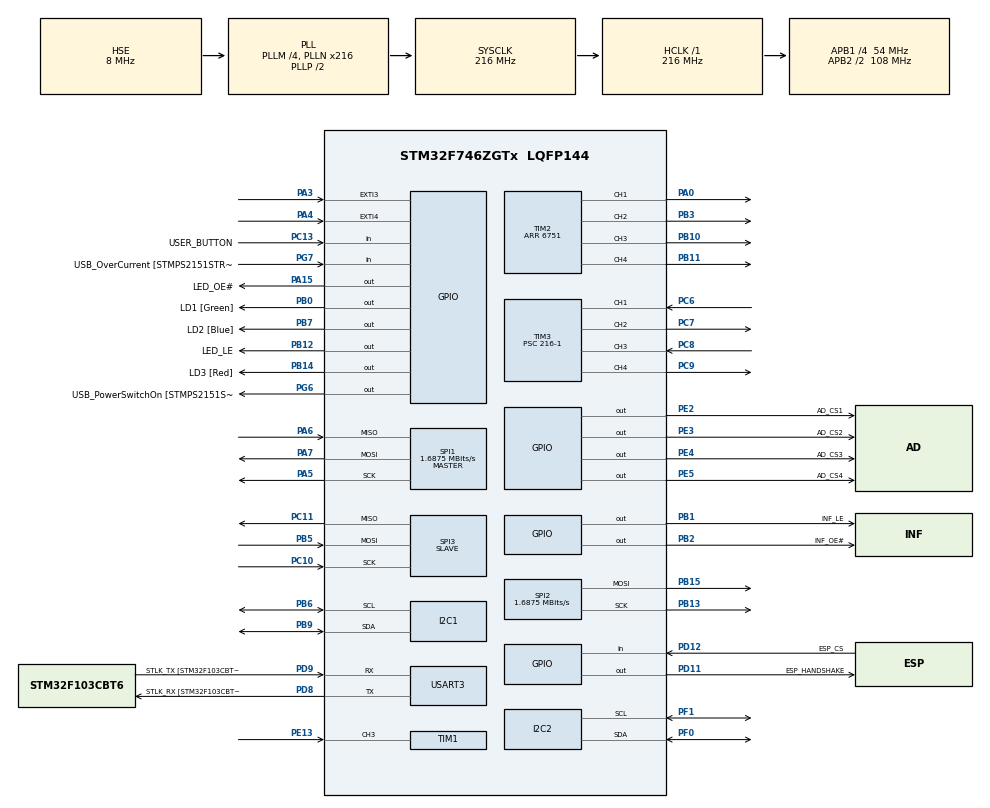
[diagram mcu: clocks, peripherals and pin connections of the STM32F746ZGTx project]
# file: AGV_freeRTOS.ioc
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CORTEX_M7.ART_ACCLERATOR_ENABLE=1
CORTEX_M7.CPU_DCache=Enabled
CORTEX_M7.CPU_ICache=Enabled
FREERTOS.BinarySemaphores01=SemACC,Dynamic,NULL;SemMotors,Dynamic,NULL;SemLightSensor,Dynamic,NULL;SemLeftEncoder,Dynamic,NULL;SemRightEncoder,Dynamic,NULL;SemLeftUSSensor,Dynamic,NULL;SemRightUSSensor,Dynamic,NULL;SemLaserSensor,Dynamic,NULL;SemPos,Dynamic,NULL;SemUSSensorEdge,Dynamic,NULL;SemReward,Dynamic,NULL
FREERTOS.Tasks01=defaultTask,8,512,StartTaskDeafult,Default,NULL,Dynamic,NULL,NULL;lightSensorTask,32,512,StartTaskLightSensor,Default,NULL,Dynamic,NULL,NULL;encodersTask,26,512,StartTaskEncoders,Default,NULL,Dynamic,NULL,NULL;emergencyBreakingTask,40,512,StartTaskEmergencyBreaking,Default,NULL,Dynamic,NULL,NULL;ACCTask,28,512,StartTaskACC,Default,NULL,Dynamic,NULL,NULL;communicationTask,21,512,StartTaskCommunication,Default,NULL,Dynamic,NULL,NULL;rewardTask,19,512,StartTaskReward,Default,NULL,Dynamic,NULL,NULL
FREERTOS.configENABLE_FPU=1
FREERTOS.configMAX_TASK_NAME_LEN=32
FREERTOS.configTOTAL_HEAP_SIZE=35360
FREERTOS.configUSE_NEWLIB_REENTRANT=1
I2C1.Timing=0x20404768
I2C2.Timing=0x20404768
Mcu.Family=STM32F7
Mcu.Name=STM32F746ZGTx
Mcu.Package=LQFP144
NVIC.EXTI3_IRQn=true\:5\:0\:false\:false\:true\:true\:true\:true
NVIC.EXTI4_IRQn=true\:5\:0\:false\:false\:true\:true\:true\:true
NVIC.PriorityGroup=NVIC_PRIORITYGROUP_4
NVIC.TIM1_CC_IRQn=true\:5\:0\:false\:false\:true\:true\:true\:true
NVIC.TIM1_UP_TIM10_IRQn=true\:5\:0\:false\:false\:true\:false\:false\:true
NVIC.TIM3_IRQn=true\:5\:0\:false\:false\:true\:true\:true\:true
NVIC.TIM6_DAC_IRQn=true\:5\:0\:false\:false\:true\:true\:true\:true
NVIC.TIM7_IRQn=true\:5\:0\:false\:false\:true\:true\:true\:true
NVIC.TIM8_UP_TIM13_IRQn=true\:0\:0\:false\:false\:true\:false\:false\:true
NVIC.TimeBase=TIM8_UP_TIM13_IRQn
NVIC.TimeBaseIP=TIM13
PA0/WKUP.Signal=S_TIM2_CH1_ETR
PA13.GPIO_Label=TMS
PA13.Mode=Serial_Wire
PA13.Signal=SYS_JTMS-SWDIO
PA14.GPIO_Label=TCK
PA14.Mode=Serial_Wire
PA14.Signal=SYS_JTCK-SWCLK
PA15.GPIO_Label=LED_OE\#
PA15.Signal=GPIO_Output
PA3.Signal=GPXTI3
PA4.Signal=GPXTI4
PA5.Mode=Full_Duplex_Master
PA5.Signal=SPI1_SCK
PA6.Mode=Full_Duplex_Master
PA6.Signal=SPI1_MISO
PA7.Mode=Full_Duplex_Master
PA7.Signal=SPI1_MOSI
PB0.GPIO_Label=LD1 [Green]
PB0.Signal=GPIO_Output
PB1.GPIO_Label=INF_LE
PB1.Signal=GPIO_Output
PB10.Signal=S_TIM2_CH3
PB11.Signal=S_TIM2_CH4
PB12.GPIO_Label=LED_LE
PB12.Signal=GPIO_Output
PB13.Mode=TX_Only_Simplex_Unidirect_Master
PB13.Signal=SPI2_SCK
PB14.GPIO_Label=LD3 [Red]
PB14.Signal=GPIO_Output
PB15.Mode=TX_Only_Simplex_Unidirect_Master
PB15.Signal=SPI2_MOSI
PB2.GPIO_Label=INF_OE\#
PB2.Signal=GPIO_Output
PB3.Signal=S_TIM2_CH2
PB5.Mode=Full_Duplex_Slave
PB5.Signal=SPI3_MOSI
PB6.GPIO_Pu=GPIO_PULLUP
PB6.Mode=I2C
PB6.Signal=I2C1_SCL
PB7.GPIO_Label=LD2 [Blue]
PB7.Signal=GPIO_Output
PB9.GPIO_Pu=GPIO_PULLUP
PB9.Mode=I2C
PB9.Signal=I2C1_SDA
PC10.Mode=Full_Duplex_Slave
PC10.Signal=SPI3_SCK
PC11.Mode=Full_Duplex_Slave
PC11.Signal=SPI3_MISO
PC13.GPIO_Label=USER_BUTTON
PC13.Signal=GPIO_Input
PC14/OSC32_IN.Mode=LSE-External-Oscillator
PC14/OSC32_IN.Signal=RCC_OSC32_IN
PC15/OSC32_OUT.Mode=LSE-External-Oscillator
PC15/OSC32_OUT.Signal=RCC_OSC32_OUT
PC6.Signal=S_TIM3_CH1
PC7.Signal=S_TIM3_CH2
PC8.Signal=S_TIM3_CH3
PC9.Signal=S_TIM3_CH4
PD11.GPIO_Label=ESP_HANDSHAKE
PD11.PinState=GPIO_PIN_SET
PD11.Signal=GPIO_Output
PD12.GPIO_Label=ESP_CS
PD12.Signal=GPIO_Input
PD8.GPIO_Label=STLK_RX [STM32F103CBT6_PA3]
PD8.Mode=Asynchronous
PD8.Signal=USART3_TX
PD9.GPIO_Label=STLK_TX [STM32F103CBT6_PA2]
PD9.Mode=Asynchronous
PD9.Signal=USART3_RX
PE13.Signal=S_TIM1_CH3
PE2.GPIO_Label=AD_CS1
PE2.PinState=GPIO_PIN_SET
PE2.Signal=GPIO_Output
PE3.GPIO_Label=AD_CS2
PE3.PinState=GPIO_PIN_SET
PE3.Signal=GPIO_Output
PE4.GPIO_Label=AD_CS3
PE4.PinState=GPIO_PIN_SET
PE4.Signal=GPIO_Output
PE5.GPIO_Label=AD_CS4
PE5.PinState=GPIO_PIN_SET
PE5.Signal=GPIO_Output
PF0.GPIO_Pu=GPIO_PULLUP
PF0.Mode=I2C
PF0.Signal=I2C2_SDA
PF1.GPIO_Pu=GPIO_PULLUP
PF1.Mode=I2C
PF1.Signal=I2C2_SCL
PG6.GPIO_Label=USB_PowerSwitchOn [STMPS2151STR_EN]
PG6.Signal=GPIO_Output
PG7.GPIO_Label=USB_OverCurrent [STMPS2151STR_FAULT]
PG7.Signal=GPIO_Input
PH0/OSC_IN.GPIO_Label=MCO [STM32F103CBT6_PA8]
PH0/OSC_IN.Mode=HSE-External-Oscillator
PH0/OSC_IN.Signal=RCC_OSC_IN
PH1/OSC_OUT.Mode=HSE-External-Oscillator
PH1/OSC_OUT.Signal=RCC_OSC_OUT
ProjectManager.HeapSize=0x200
ProjectManager.StackSize=0x1000
ProjectManager.TargetToolchain=STM32CubeIDE
RCC.48MHZClocksFreq_Value=24000000
RCC.AHBFreq_Value=216000000
RCC.APB1CLKDivider=RCC_HCLK_DIV4
RCC.APB1Freq_Value=54000000
RCC.APB1TimFreq_Value=108000000
RCC.APB2CLKDivider=RCC_HCLK_DIV2
RCC.APB2Freq_Value=108000000
RCC.APB2TimFreq_Value=216000000
RCC.CortexFreq_Value=216000000
RCC.HCLKFreq_Value=216000000
RCC.HSE_VALUE=8000000
RCC.HSI_VALUE=16000000
RCC.PLLM=4
RCC.PLLMUL=RCC_PLL_MUL9
RCC.PLLN=216
RCC.PLLQ=10
RCC.PLLSourceVirtual=RCC_PLLSOURCE_HSE
RCC.PRESCALERUSB=RCC_USBCLKSOURCE_PLL_DIV1_5
RCC.SYSCLKFreq_VALUE=216000000
RCC.SYSCLKSource=RCC_SYSCLKSOURCE_PLLCLK
RCC.SYSCLKSourceVirtual=RCC_SYSCLKSOURCE_PLLCLK
RCC.USBFreq_Value=43200000
RCC.VCOOutputFreq_Value=432000000
SH.S_TIM1_CH3.0=TIM1_CH3,Input_Capture3_from_TI3
SH.S_TIM2_CH1_ETR.0=TIM2_CH1,PWM Generation1 CH1
SH.S_TIM2_CH2.0=TIM2_CH2,PWM Generation2 CH2
SH.S_TIM2_CH3.0=TIM2_CH3,PWM Generation3 CH3
SH.S_TIM2_CH4.0=TIM2_CH4,PWM Generation4 CH4
SH.S_TIM3_CH1.0=TIM3_CH1,Input_Capture1_from_TI1
SH.S_TIM3_CH2.0=TIM3_CH2,PWM Generation2 CH2
SH.S_TIM3_CH3.0=TIM3_CH3,Input_Capture3_from_TI3
SH.S_TIM3_CH4.0=TIM3_CH4,PWM Generation4 CH4
SPI1.BaudRatePrescaler=SPI_BAUDRATEPRESCALER_64
SPI1.CalculateBaudRate=1.6875 MBits/s
SPI1.DataSize=SPI_DATASIZE_8BIT
SPI1.Direction=SPI_DIRECTION_2LINES
SPI1.Mode=SPI_MODE_MASTER
SPI1.NSSPMode=SPI_NSS_PULSE_DISABLE
SPI1.VirtualType=VM_MASTER
SPI2.BaudRatePrescaler=SPI_BAUDRATEPRESCALER_32
SPI2.CalculateBaudRate=1.6875 MBits/s
SPI2.DataSize=SPI_DATASIZE_8BIT
SPI2.Direction=SPI_DIRECTION_2LINES
SPI2.Mode=SPI_MODE_MASTER
SPI2.NSSPMode=SPI_NSS_PULSE_DISABLE
SPI2.VirtualType=VM_MASTER
SPI3.CLKPhase=SPI_PHASE_2EDGE
SPI3.CLKPolarity=SPI_POLARITY_HIGH
SPI3.DataSize=SPI_DATASIZE_8BIT
SPI3.Direction=SPI_DIRECTION_2LINES
SPI3.Mode=SPI_MODE_SLAVE
SPI3.VirtualType=VM_SLAVE
STMicroelectronics.X-CUBE-AI.6.0.0.ActivationBufferSizeList=37032
STMicroelectronics.X-CUBE-AI.6.0.0.HeapSize=0x200
STMicroelectronics.X-CUBE-AI.6.0.0.InternalRamActivationBufferMaxSize=AI_SIMPLENN_DATA_ACTIVATIONS_SIZE
STMicroelectronics.X-CUBE-AI.6.0.0.LatestDirectoryUsed-7442c7563cdb3022973254b2a69d9c63271b1dc78072a0198cabeec3d50b4be9=D\:\\TK-MachineLearning\\Microcontrollers\\Nucleo
STMicroelectronics.X-CUBE-AI.6.0.0.MaximumNumberOfInputLayer=1
STMicroelectronics.X-CUBE-AI.6.0.0.MaximumNumberOfOutputLayer=1
STMicroelectronics.X-CUBE-AI.6.0.0.MaximumSizeOfInputLayer=AI_SIMPLENN_IN_1_SIZE_BYTES
STMicroelectronics.X-CUBE-AI.6.0.0.MaximumSizeOfOutputLayer=AI_SIMPLENN_OUT_1_SIZE_BYTES
STMicroelectronics.X-CUBE-AI.6.0.0.ModelActualCompression-7442c7563cdb3022973254b2a69d9c63271b1dc78072a0198cabeec3d50b4be9=0.0
STMicroelectronics.X-CUBE-AI.6.0.0.ModelCompression-7442c7563cdb3022973254b2a69d9c63271b1dc78072a0198cabeec3d50b4be9=4
STMicroelectronics.X-CUBE-AI.6.0.0.ModelFlashOccupation-7442c7563cdb3022973254b2a69d9c63271b1dc78072a0198cabeec3d50b4be9=222632
STMicroelectronics.X-CUBE-AI.6.0.0.ModelHashList=7442c7563cdb3022973254b2a69d9c63271b1dc78072a0198cabeec3d50b4be9
STMicroelectronics.X-CUBE-AI.6.0.0.ModelKind-7442c7563cdb3022973254b2a69d9c63271b1dc78072a0198cabeec3d50b4be9=ONNX
STMicroelectronics.X-CUBE-AI.6.0.0.ModelMacc-7442c7563cdb3022973254b2a69d9c63271b1dc78072a0198cabeec3d50b4be9=55730
STMicroelectronics.X-CUBE-AI.6.0.0.ModelName-7442c7563cdb3022973254b2a69d9c63271b1dc78072a0198cabeec3d50b4be9=simplenn
STMicroelectronics.X-CUBE-AI.6.0.0.ModelNameList=simplenn
STMicroelectronics.X-CUBE-AI.6.0.0.ModelRamOccupation-7442c7563cdb3022973254b2a69d9c63271b1dc78072a0198cabeec3d50b4be9=37032
STMicroelectronics.X-CUBE-AI.6.0.0.ModelStructureFile-7442c7563cdb3022973254b2a69d9c63271b1dc78072a0198cabeec3d50b4be9=D\:\\TK-MachineLearning\\Microcontrollers\\Nucleo\\MCU_NN.onnx
STMicroelectronics.X-CUBE-AI.6.0.0.ModelType-7442c7563cdb3022973254b2a69d9c63271b1dc78072a0198cabeec3d50b4be9=Saved model
STMicroelectronics.X-CUBE-AI.6.0.0.StackSize=0x1000
STMicroelectronics.X-CUBE-AI.6.0.0.WorkingBufferStartAddrList=0xFFFFFFFF
STMicroelectronics.X-CUBE-AI.6.0.0.XAaCUBEAaAICcArtificialOoIntelligenceJjCore=true
TIM1.AutoReloadPreload=TIM_AUTORELOAD_PRELOAD_ENABLE
TIM1.Channel-Input_Capture3_from_TI3=TIM_CHANNEL_3
TIM1.Prescaler=216-1
TIM14.Prescaler=21599
TIM2.AutoReloadPreload=TIM_AUTORELOAD_PRELOAD_ENABLE
TIM2.Channel-PWM\ Generation1\ CH1=TIM_CHANNEL_1
TIM2.Channel-PWM\ Generation2\ CH2=TIM_CHANNEL_2
TIM2.Channel-PWM\ Generation3\ CH3=TIM_CHANNEL_3
TIM2.Channel-PWM\ Generation4\ CH4=TIM_CHANNEL_4
TIM2.Period=6751
TIM3.Channel-Input_Capture1_from_TI1=TIM_CHANNEL_1
TIM3.Channel-Input_Capture3_from_TI3=TIM_CHANNEL_3
TIM3.Channel-PWM\ Generation2\ CH2=TIM_CHANNEL_2
TIM3.Channel-PWM\ Generation4\ CH4=TIM_CHANNEL_4
TIM3.Prescaler=216-1
TIM3.Pulse-PWM\ Generation2\ CH2=10
TIM3.Pulse-PWM\ Generation4\ CH4=10
TIM6.AutoReloadPreload=TIM_AUTORELOAD_PRELOAD_ENABLE
TIM6.Period=59999
TIM6.Prescaler=1799
TIM7.AutoReloadPreload=TIM_AUTORELOAD_PRELOAD_ENABLE
TIM7.Period=59999
TIM7.Prescaler=1799
USART3.VirtualMode-Asynchronous=VM_ASYNC
VP_CRC_VS_CRC.Mode=CRC_Activate
VP_FREERTOS_VS_CMSIS_V2.Mode=CMSIS_V2
VP_RNG_VS_RNG.Mode=RNG_Activate
VP_STMicroelectronics.X-CUBE-AI_VS_ArtificialOoIntelligenceJjXAaCUBEAaAI_6.0.0.Mode=ArtificialOoIntelligenceJjXAaCUBEAaAI
VP_SYS_VS_tim13.Mode=TIM13
VP_TIM14_VS_ClockSourceINT.Mode=Enable_Timer
VP_TIM1_VS_ClockSourceINT.Mode=Internal
VP_TIM2_VS_ClockSourceINT.Mode=Internal
VP_TIM3_VS_ClockSourceINT.Mode=Internal
VP_TIM6_VS_ClockSourceINT.Mode=Enable_Timer
VP_TIM7_VS_ClockSourceINT.Mode=Enable_Timer
board=NUCLEO-F746ZG

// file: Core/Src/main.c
/* USER CODE BEGIN Header */
/**
  ******************************************************************************
  * @file           : main.c
  * @brief          : Main program body
  ******************************************************************************
  * @attention
  *
  * <h2><center>&copy; Copyright (c) 2021 STMicroelectronics.
  * All rights reserved.</center></h2>
  *
  * This software component is licensed by ST under BSD 3-Clause license,
  * the "License"; You may not use this file except in compliance with the
  * License. You may obtain a copy of the License at:
  *                        opensource.org/licenses/BSD-3-Clause
  *
  ******************************************************************************
  */
/* USER CODE END Header */
#include "main.h"
#include "cmsis_os.h"

CRC_HandleTypeDef hcrc;

I2C_HandleTypeDef hi2c1;
I2C_HandleTypeDef hi2c2;

RNG_HandleTypeDef hrng;

SPI_HandleTypeDef hspi1;
SPI_HandleTypeDef hspi2;
SPI_HandleTypeDef hspi3;

TIM_HandleTypeDef htim1;
TIM_HandleTypeDef htim2;
TIM_HandleTypeDef htim3;
TIM_HandleTypeDef htim6;
TIM_HandleTypeDef htim7;
TIM_HandleTypeDef htim14;

UART_HandleTypeDef huart3;

/* Definitions for defaultTask */
osThreadId_t defaultTaskHandle;
const osThreadAttr_t defaultTask_attributes = {
  .name = "defaultTask",
  .stack_size = 512 * 4,
  .priority = (osPriority_t) osPriorityLow,
};
/* Definitions for lightSensorTask */
osThreadId_t lightSensorTaskHandle;
const osThreadAttr_t lightSensorTask_attributes = {
  .name = "lightSensorTask",
  .stack_size = 512 * 4,
  .priority = (osPriority_t) osPriorityAboveNormal,
};
/* Definitions for encodersTask */
osThreadId_t encodersTaskHandle;
const osThreadAttr_t encodersTask_attributes = {
  .name = "encodersTask",
  .stack_size = 512 * 4,
  .priority = (osPriority_t) osPriorityNormal2,
};
/* Definitions for emergencyBreakingTask */
osThreadId_t emergencyBreakingTaskHandle;
const osThreadAttr_t emergencyBreakingTask_attributes = {
  .name = "emergencyBreakingTask",
  .stack_size = 512 * 4,
  .priority = (osPriority_t) osPriorityHigh,
};
/* Definitions for ACCTask */
osThreadId_t ACCTaskHandle;
const osThreadAttr_t ACCTask_attributes = {
  .name = "ACCTask",
  .stack_size = 512 * 4,
  .priority = (osPriority_t) osPriorityNormal4,
};
/* Definitions for communicationTask */
osThreadId_t communicationTaskHandle;
const osThreadAttr_t communicationTask_attributes = {
  .name = "communicationTask",
  .stack_size = 512 * 4,
  .priority = (osPriority_t) osPriorityBelowNormal5,
};
/* Definitions for rewardTask */
osThreadId_t rewardTaskHandle;
const osThreadAttr_t rewardTask_attributes = {
  .name = "rewardTask",
  .stack_size = 512 * 4,
  .priority = (osPriority_t) osPriorityBelowNormal3,
};
/* Definitions for SemACC */
osSemaphoreId_t SemACCHandle;
const osSemaphoreAttr_t SemACC_attributes = {
  .name = "SemACC"
};
/* Definitions for SemMotors */
osSemaphoreId_t SemMotorsHandle;
const osSemaphoreAttr_t SemMotors_attributes = {
  .name = "SemMotors"
};
/* Definitions for SemLightSensor */
osSemaphoreId_t SemLightSensorHandle;
const osSemaphoreAttr_t SemLightSensor_attributes = {
  .name = "SemLightSensor"
};
/* Definitions for SemLeftEncoder */
osSemaphoreId_t SemLeftEncoderHandle;
const osSemaphoreAttr_t SemLeftEncoder_attributes = {
  .name = "SemLeftEncoder"
};
/* Definitions for SemRightEncoder */
osSemaphoreId_t SemRightEncoderHandle;
const osSemaphoreAttr_t SemRightEncoder_attributes = {
  .name = "SemRightEncoder"
};
/* Definitions for SemLeftUSSensor */
osSemaphoreId_t SemLeftUSSensorHandle;
const osSemaphoreAttr_t SemLeftUSSensor_attributes = {
  .name = "SemLeftUSSensor"
};
/* Definitions for SemRightUSSensor */
osSemaphoreId_t SemRightUSSensorHandle;
const osSemaphoreAttr_t SemRightUSSensor_attributes = {
  .name = "SemRightUSSensor"
};
/* Definitions for SemLaserSensor */
osSemaphoreId_t SemLaserSensorHandle;
const osSemaphoreAttr_t SemLaserSensor_attributes = {
  .name = "SemLaserSensor"
};
/* Definitions for SemPos */
osSemaphoreId_t SemPosHandle;
const osSemaphoreAttr_t SemPos_attributes = {
  .name = "SemPos"
};
/* Definitions for SemUSSensorEdge */
osSemaphoreId_t SemUSSensorEdgeHandle;
const osSemaphoreAttr_t SemUSSensorEdge_attributes = {
  .name = "SemUSSensorEdge"
};
/* Definitions for SemReward */
osSemaphoreId_t SemRewardHandle;
const osSemaphoreAttr_t SemReward_attributes = {
  .name = "SemReward"
};
/* USER CODE BEGIN PV */

// USSensor BEGIN

extern TIM_HandleTypeDef* UStim;

// USSensor END

/* USER CODE END PV */

void SystemClock_Config(void);
static void MX_GPIO_Init(void);
static void MX_USART3_UART_Init(void);
static void MX_I2C1_Init(void);
static void MX_TIM1_Init(void);
static void MX_TIM3_Init(void);
static void MX_TIM2_Init(void);
static void MX_SPI1_Init(void);
static void MX_SPI2_Init(void);
static void MX_I2C2_Init(void);
static void MX_TIM6_Init(void);
static void MX_TIM7_Init(void);
static void MX_TIM14_Init(void);
static void MX_CRC_Init(void);
static void MX_RNG_Init(void);
static void MX_SPI3_Init(void);
void StartTaskDeafult(void *argument);
void StartTaskLightSensor(void *argument);
void StartTaskEncoders(void *argument);
void StartTaskEmergencyBreaking(void *argument);
void StartTaskACC(void *argument);
void StartTaskCommunication(void *argument);
void StartTaskReward(void *argument);

/* USER CODE BEGIN 0 */
typedef enum systemState{
	STOP, LINE_FOLLOW, RECEIVING_IMAGE, RECEIVING_WEIGHTS, NETWORK
}systemState;

systemState actualState = STOP;
/* USER CODE END 0 */

int main(void)
{

  /* Enable I-Cache---------------------------------------------------------*/
  SCB_EnableICache();

  /* Enable D-Cache---------------------------------------------------------*/
  SCB_EnableDCache();

  /* MCU Configuration--------------------------------------------------------*/

  /* Reset of all peripherals, Initializes the Flash interface and the Systick. */
  HAL_Init();

  /* Configure the system clock */
  SystemClock_Config();

  /* Initialize all configured peripherals */
  MX_GPIO_Init();
  MX_USART3_UART_Init();
  MX_I2C1_Init();
  MX_TIM1_Init();
  MX_TIM3_Init();
  MX_TIM2_Init();
  MX_SPI1_Init();
  MX_SPI2_Init();
  MX_I2C2_Init();
  MX_TIM6_Init();
  MX_TIM7_Init();
  MX_TIM14_Init();
  MX_CRC_Init();
  MX_RNG_Init();
  MX_SPI3_Init();
  /* USER CODE BEGIN 2 */
  initMyCOM(&huart3);
  Encoder_Init();
  Motors_Init(&htim2);
  initUS(&htim3);
  initACCSensor(&hi2c2);
  initlezer(&htim1);
  intiNetwork();
  /* USER CODE END 2 */

  /* Init scheduler */
  osKernelInitialize();

  /* Create the semaphores(s) */
  /* creation of SemACC */
  SemACCHandle = osSemaphoreNew(1, 1, &SemACC_attributes);

  /* creation of SemMotors */
  SemMotorsHandle = osSemaphoreNew(1, 1, &SemMotors_attributes);

  /* creation of SemLightSensor */
  SemLightSensorHandle = osSemaphoreNew(1, 1, &SemLightSensor_attributes);

  /* creation of SemLeftEncoder */
  SemLeftEncoderHandle = osSemaphoreNew(1, 1, &SemLeftEncoder_attributes);

  /* creation of SemRightEncoder */
  SemRightEncoderHandle = osSemaphoreNew(1, 1, &SemRightEncoder_attributes);

  /* creation of SemLeftUSSensor */
  SemLeftUSSensorHandle = osSemaphoreNew(1, 1, &SemLeftUSSensor_attributes);

  /* creation of SemRightUSSensor */
  SemRightUSSensorHandle = osSemaphoreNew(1, 1, &SemRightUSSensor_attributes);

  /* creation of SemLaserSensor */
  SemLaserSensorHandle = osSemaphoreNew(1, 1, &SemLaserSensor_attributes);

  /* creation of SemPos */
  SemPosHandle = osSemaphoreNew(1, 1, &SemPos_attributes);

  /* creation of SemUSSensorEdge */
  SemUSSensorEdgeHandle = osSemaphoreNew(1, 1, &SemUSSensorEdge_attributes);

  /* creation of SemReward */
  SemRewardHandle = osSemaphoreNew(1, 1, &SemReward_attributes);

  /* Create the thread(s) */
  /* creation of defaultTask */
  defaultTaskHandle = osThreadNew(StartTaskDeafult, NULL, &defaultTask_attributes);

  /* creation of lightSensorTask */
  lightSensorTaskHandle = osThreadNew(StartTaskLightSensor, NULL, &lightSensorTask_attributes);

  /* creation of encodersTask */
  encodersTaskHandle = osThreadNew(StartTaskEncoders, NULL, &encodersTask_attributes);

  /* creation of emergencyBreakingTask */
  emergencyBreakingTaskHandle = osThreadNew(StartTaskEmergencyBreaking, NULL, &emergencyBreakingTask_attributes);

  /* creation of ACCTask */
  ACCTaskHandle = osThreadNew(StartTaskACC, NULL, &ACCTask_attributes);

  /* creation of communicationTask */
  communicationTaskHandle = osThreadNew(StartTaskCommunication, NULL, &communicationTask_attributes);

  /* creation of rewardTask */
  rewardTaskHandle = osThreadNew(StartTaskReward, NULL, &rewardTask_attributes);

  /* Start scheduler */
  osKernelStart();

  /* We should never get here as control is now taken by the scheduler */
  /* Infinite loop */
  while (1)
  {

  }
}

void SystemClock_Config(void)
{
  RCC_OscInitTypeDef RCC_OscInitStruct = {0};
  RCC_ClkInitTypeDef RCC_ClkInitStruct = {0};
  RCC_PeriphCLKInitTypeDef PeriphClkInitStruct = {0};

  /** Configure LSE Drive Capability
  */
  HAL_PWR_EnableBkUpAccess();
  /** Configure the main internal regulator output voltage
  */
  __HAL_RCC_PWR_CLK_ENABLE();
  __HAL_PWR_VOLTAGESCALING_CONFIG(PWR_REGULATOR_VOLTAGE_SCALE1);
  /** Initializes the RCC Oscillators according to the specified parameters
  * in the RCC_OscInitTypeDef structure.
  */
  RCC_OscInitStruct.OscillatorType = RCC_OSCILLATORTYPE_HSE;
  RCC_OscInitStruct.HSEState = RCC_HSE_ON;
  RCC_OscInitStruct.PLL.PLLState = RCC_PLL_ON;
  RCC_OscInitStruct.PLL.PLLSource = RCC_PLLSOURCE_HSE;
  RCC_OscInitStruct.PLL.PLLM = 4;
  RCC_OscInitStruct.PLL.PLLN = 216;
  RCC_OscInitStruct.PLL.PLLP = RCC_PLLP_DIV2;
  RCC_OscInitStruct.PLL.PLLQ = 10;
  if (HAL_RCC_OscConfig(&RCC_OscInitStruct) != HAL_OK)
  {
    Error_Handler();
  }
  /** Activate the Over-Drive mode
  */
  if (HAL_PWREx_EnableOverDrive() != HAL_OK)
  {
    Error_Handler();
  }
  /** Initializes the CPU, AHB and APB buses clocks
  */
  RCC_ClkInitStruct.ClockType = RCC_CLOCKTYPE_HCLK|RCC_CLOCKTYPE_SYSCLK
                              |RCC_CLOCKTYPE_PCLK1|RCC_CLOCKTYPE_PCLK2;
  RCC_ClkInitStruct.SYSCLKSource = RCC_SYSCLKSOURCE_PLLCLK;
  RCC_ClkInitStruct.AHBCLKDivider = RCC_SYSCLK_DIV1;
  RCC_ClkInitStruct.APB1CLKDivider = RCC_HCLK_DIV4;
  RCC_ClkInitStruct.APB2CLKDivider = RCC_HCLK_DIV2;

  if (HAL_RCC_ClockConfig(&RCC_ClkInitStruct, FLASH_LATENCY_7) != HAL_OK)
  {
    Error_Handler();
  }
  PeriphClkInitStruct.PeriphClockSelection = RCC_PERIPHCLK_USART3|RCC_PERIPHCLK_I2C1
                              |RCC_PERIPHCLK_I2C2|RCC_PERIPHCLK_CLK48;
  PeriphClkInitStruct.Usart3ClockSelection = RCC_USART3CLKSOURCE_PCLK1;
  PeriphClkInitStruct.I2c1ClockSelection = RCC_I2C1CLKSOURCE_PCLK1;
  PeriphClkInitStruct.I2c2ClockSelection = RCC_I2C2CLKSOURCE_PCLK1;
  PeriphClkInitStruct.Clk48ClockSelection = RCC_CLK48SOURCE_PLL;
  if (HAL_RCCEx_PeriphCLKConfig(&PeriphClkInitStruct) != HAL_OK)
  {
    Error_Handler();
  }
}

static void MX_CRC_Init(void)
{

  hcrc.Instance = CRC;
  hcrc.Init.DefaultPolynomialUse = DEFAULT_POLYNOMIAL_ENABLE;
  hcrc.Init.DefaultInitValueUse = DEFAULT_INIT_VALUE_ENABLE;
  hcrc.Init.InputDataInversionMode = CRC_INPUTDATA_INVERSION_NONE;
  hcrc.Init.OutputDataInversionMode = CRC_OUTPUTDATA_INVERSION_DISABLE;
  hcrc.InputDataFormat = CRC_INPUTDATA_FORMAT_BYTES;
  if (HAL_CRC_Init(&hcrc) != HAL_OK)
  {
    Error_Handler();
  }

}

static void MX_I2C1_Init(void)
{

  hi2c1.Instance = I2C1;
  hi2c1.Init.Timing = 0x20404768;
  hi2c1.Init.OwnAddress1 = 0;
  hi2c1.Init.AddressingMode = I2C_ADDRESSINGMODE_7BIT;
  hi2c1.Init.DualAddressMode = I2C_DUALADDRESS_DISABLE;
  hi2c1.Init.OwnAddress2 = 0;
  hi2c1.Init.OwnAddress2Masks = I2C_OA2_NOMASK;
  hi2c1.Init.GeneralCallMode = I2C_GENERALCALL_DISABLE;
  hi2c1.Init.NoStretchMode = I2C_NOSTRETCH_DISABLE;
  if (HAL_I2C_Init(&hi2c1) != HAL_OK)
  {
    Error_Handler();
  }
  /** Configure Analogue filter
  */
  if (HAL_I2CEx_ConfigAnalogFilter(&hi2c1, I2C_ANALOGFILTER_ENABLE) != HAL_OK)
  {
    Error_Handler();
  }
  /** Configure Digital filter
  */
  if (HAL_I2CEx_ConfigDigitalFilter(&hi2c1, 0) != HAL_OK)
  {
    Error_Handler();
  }

}

static void MX_I2C2_Init(void)
{

  hi2c2.Instance = I2C2;
  hi2c2.Init.Timing = 0x20404768;
  hi2c2.Init.OwnAddress1 = 0;
  hi2c2.Init.AddressingMode = I2C_ADDRESSINGMODE_7BIT;
  hi2c2.Init.DualAddressMode = I2C_DUALADDRESS_DISABLE;
  hi2c2.Init.OwnAddress2 = 0;
  hi2c2.Init.OwnAddress2Masks = I2C_OA2_NOMASK;
  hi2c2.Init.GeneralCallMode = I2C_GENERALCALL_DISABLE;
  hi2c2.Init.NoStretchMode = I2C_NOSTRETCH_DISABLE;
  if (HAL_I2C_Init(&hi2c2) != HAL_OK)
  {
    Error_Handler();
  }
  /** Configure Analogue filter
  */
  if (HAL_I2CEx_ConfigAnalogFilter(&hi2c2, I2C_ANALOGFILTER_ENABLE) != HAL_OK)
  {
    Error_Handler();
  }
  /** Configure Digital filter
  */
  if (HAL_I2CEx_ConfigDigitalFilter(&hi2c2, 0) != HAL_OK)
  {
    Error_Handler();
  }

}

static void MX_RNG_Init(void)
{

  hrng.Instance = RNG;
  if (HAL_RNG_Init(&hrng) != HAL_OK)
  {
    Error_Handler();
  }

}

static void MX_SPI1_Init(void)
{

  /* SPI1 parameter configuration*/
  hspi1.Instance = SPI1;
  hspi1.Init.Mode = SPI_MODE_MASTER;
  hspi1.Init.Direction = SPI_DIRECTION_2LINES;
  hspi1.Init.DataSize = SPI_DATASIZE_8BIT;
  hspi1.Init.CLKPolarity = SPI_POLARITY_LOW;
  hspi1.Init.CLKPhase = SPI_PHASE_1EDGE;
  hspi1.Init.NSS = SPI_NSS_SOFT;
  hspi1.Init.BaudRatePrescaler = SPI_BAUDRATEPRESCALER_64;
  hspi1.Init.FirstBit = SPI_FIRSTBIT_MSB;
  hspi1.Init.TIMode = SPI_TIMODE_DISABLE;
  hspi1.Init.CRCCalculation = SPI_CRCCALCULATION_DISABLE;
  hspi1.Init.CRCPolynomial = 7;
  hspi1.Init.CRCLength = SPI_CRC_LENGTH_DATASIZE;
  hspi1.Init.NSSPMode = SPI_NSS_PULSE_DISABLE;
  if (HAL_SPI_Init(&hspi1) != HAL_OK)
  {
    Error_Handler();
  }

}

static void MX_SPI2_Init(void)
{

  /* SPI2 parameter configuration*/
  hspi2.Instance = SPI2;
  hspi2.Init.Mode = SPI_MODE_MASTER;
  hspi2.Init.Direction = SPI_DIRECTION_2LINES;
  hspi2.Init.DataSize = SPI_DATASIZE_8BIT;
  hspi2.Init.CLKPolarity = SPI_POLARITY_LOW;
  hspi2.Init.CLKPhase = SPI_PHASE_1EDGE;
  hspi2.Init.NSS = SPI_NSS_SOFT;
  hspi2.Init.BaudRatePrescaler = SPI_BAUDRATEPRESCALER_32;
  hspi2.Init.FirstBit = SPI_FIRSTBIT_MSB;
  hspi2.Init.TIMode = SPI_TIMODE_DISABLE;
  hspi2.Init.CRCCalculation = SPI_CRCCALCULATION_DISABLE;
  hspi2.Init.CRCPolynomial = 7;
  hspi2.Init.CRCLength = SPI_CRC_LENGTH_DATASIZE;
  hspi2.Init.NSSPMode = SPI_NSS_PULSE_DISABLE;
  if (HAL_SPI_Init(&hspi2) != HAL_OK)
  {
    Error_Handler();
  }

}

static void MX_SPI3_Init(void)
{

  /* SPI3 parameter configuration*/
  hspi3.Instance = SPI3;
  hspi3.Init.Mode = SPI_MODE_SLAVE;
  hspi3.Init.Direction = SPI_DIRECTION_2LINES;
  hspi3.Init.DataSize = SPI_DATASIZE_8BIT;
  hspi3.Init.CLKPolarity = SPI_POLARITY_HIGH;
  hspi3.Init.CLKPhase = SPI_PHASE_2EDGE;
  hspi3.Init.NSS = SPI_NSS_SOFT;
  hspi3.Init.FirstBit = SPI_FIRSTBIT_MSB;
  hspi3.Init.TIMode = SPI_TIMODE_DISABLE;
  hspi3.Init.CRCCalculation = SPI_CRCCALCULATION_DISABLE;
  hspi3.Init.CRCPolynomial = 7;
  hspi3.Init.CRCLength = SPI_CRC_LENGTH_DATASIZE;
  hspi3.Init.NSSPMode = SPI_NSS_PULSE_DISABLE;
  if (HAL_SPI_Init(&hspi3) != HAL_OK)
  {
    Error_Handler();
  }

}

static void MX_TIM1_Init(void)
{

  TIM_ClockConfigTypeDef sClockSourceConfig = {0};
  TIM_MasterConfigTypeDef sMasterConfig = {0};
  TIM_IC_InitTypeDef sConfigIC = {0};

  htim1.Instance = TIM1;
  htim1.Init.Prescaler = 216-1;
  htim1.Init.CounterMode = TIM_COUNTERMODE_UP;
  htim1.Init.Period = 65535;
  htim1.Init.ClockDivision = TIM_CLOCKDIVISION_DIV1;
  htim1.Init.RepetitionCounter = 0;
  htim1.Init.AutoReloadPreload = TIM_AUTORELOAD_PRELOAD_ENABLE;
  if (HAL_TIM_Base_Init(&htim1) != HAL_OK)
  {
    Error_Handler();
  }
  sClockSourceConfig.ClockSource = TIM_CLOCKSOURCE_INTERNAL;
  if (HAL_TIM_ConfigClockSource(&htim1, &sClockSourceConfig) != HAL_OK)
  {
    Error_Handler();
  }
  if (HAL_TIM_IC_Init(&htim1) != HAL_OK)
  {
    Error_Handler();
  }
  sMasterConfig.MasterOutputTrigger = TIM_TRGO_RESET;
  sMasterConfig.MasterOutputTrigger2 = TIM_TRGO2_RESET;
  sMasterConfig.MasterSlaveMode = TIM_MASTERSLAVEMODE_DISABLE;
  if (HAL_TIMEx_MasterConfigSynchronization(&htim1, &sMasterConfig) != HAL_OK)
  {
    Error_Handler();
  }
  sConfigIC.ICPolarity = TIM_INPUTCHANNELPOLARITY_RISING;
  sConfigIC.ICSelection = TIM_ICSELECTION_DIRECTTI;
  sConfigIC.ICPrescaler = TIM_ICPSC_DIV1;
  sConfigIC.ICFilter = 0;
  if (HAL_TIM_IC_ConfigChannel(&htim1, &sConfigIC, TIM_CHANNEL_3) != HAL_OK)
  {
    Error_Handler();
  }

}

static void MX_TIM2_Init(void)
{

  TIM_ClockConfigTypeDef sClockSourceConfig = {0};
  TIM_MasterConfigTypeDef sMasterConfig = {0};
  TIM_OC_InitTypeDef sConfigOC = {0};

  htim2.Instance = TIM2;
  htim2.Init.Prescaler = 0;
  htim2.Init.CounterMode = TIM_COUNTERMODE_UP;
  htim2.Init.Period = 6751;
  htim2.Init.ClockDivision = TIM_CLOCKDIVISION_DIV1;
  htim2.Init.AutoReloadPreload = TIM_AUTORELOAD_PRELOAD_ENABLE;
  if (HAL_TIM_Base_Init(&htim2) != HAL_OK)
  {
    Error_Handler();
  }
  sClockSourceConfig.ClockSource = TIM_CLOCKSOURCE_INTERNAL;
  if (HAL_TIM_ConfigClockSource(&htim2, &sClockSourceConfig) != HAL_OK)
  {
    Error_Handler();
  }
  if (HAL_TIM_PWM_Init(&htim2) != HAL_OK)
  {
    Error_Handler();
  }
  sMasterConfig.MasterOutputTrigger = TIM_TRGO_RESET;
  sMasterConfig.MasterSlaveMode = TIM_MASTERSLAVEMODE_DISABLE;
  if (HAL_TIMEx_MasterConfigSynchronization(&htim2, &sMasterConfig) != HAL_OK)
  {
    Error_Handler();
  }
  sConfigOC.OCMode = TIM_OCMODE_PWM1;
  sConfigOC.Pulse = 0;
  sConfigOC.OCPolarity = TIM_OCPOLARITY_HIGH;
  sConfigOC.OCFastMode = TIM_OCFAST_DISABLE;
  if (HAL_TIM_PWM_ConfigChannel(&htim2, &sConfigOC, TIM_CHANNEL_1) != HAL_OK)
  {
    Error_Handler();
  }
  if (HAL_TIM_PWM_ConfigChannel(&htim2, &sConfigOC, TIM_CHANNEL_2) != HAL_OK)
  {
    Error_Handler();
  }
  if (HAL_TIM_PWM_ConfigChannel(&htim2, &sConfigOC, TIM_CHANNEL_3) != HAL_OK)
  {
    Error_Handler();
  }
  if (HAL_TIM_PWM_ConfigChannel(&htim2, &sConfigOC, TIM_CHANNEL_4) != HAL_OK)
  {
    Error_Handler();
  }
  HAL_TIM_MspPostInit(&htim2);

}

static void MX_TIM3_Init(void)
{

  TIM_ClockConfigTypeDef sClockSourceConfig = {0};
  TIM_MasterConfigTypeDef sMasterConfig = {0};
  TIM_IC_InitTypeDef sConfigIC = {0};
  TIM_OC_InitTypeDef sConfigOC = {0};

  htim3.Instance = TIM3;
  htim3.Init.Prescaler = 216-1;
  htim3.Init.CounterMode = TIM_COUNTERMODE_UP;
  htim3.Init.Period = 65535;
  htim3.Init.ClockDivision = TIM_CLOCKDIVISION_DIV1;
  htim3.Init.AutoReloadPreload = TIM_AUTORELOAD_PRELOAD_DISABLE;
  if (HAL_TIM_Base_Init(&htim3) != HAL_OK)
  {
    Error_Handler();
  }
  sClockSourceConfig.ClockSource = TIM_CLOCKSOURCE_INTERNAL;
  if (HAL_TIM_ConfigClockSource(&htim3, &sClockSourceConfig) != HAL_OK)
  {
    Error_Handler();
  }
  if (HAL_TIM_IC_Init(&htim3) != HAL_OK)
  {
    Error_Handler();
  }
  if (HAL_TIM_PWM_Init(&htim3) != HAL_OK)
  {
    Error_Handler();
  }
  sMasterConfig.MasterOutputTrigger = TIM_TRGO_RESET;
  sMasterConfig.MasterSlaveMode = TIM_MASTERSLAVEMODE_DISABLE;
  if (HAL_TIMEx_MasterConfigSynchronization(&htim3, &sMasterConfig) != HAL_OK)
  {
    Error_Handler();
  }
  sConfigIC.ICPolarity = TIM_INPUTCHANNELPOLARITY_RISING;
  sConfigIC.ICSelection = TIM_ICSELECTION_DIRECTTI;
  sConfigIC.ICPrescaler = TIM_ICPSC_DIV1;
  sConfigIC.ICFilter = 0;
  if (HAL_TIM_IC_ConfigChannel(&htim3, &sConfigIC, TIM_CHANNEL_1) != HAL_OK)
  {
    Error_Handler();
  }
  sConfigOC.OCMode = TIM_OCMODE_PWM1;
  sConfigOC.Pulse = 10;
  sConfigOC.OCPolarity = TIM_OCPOLARITY_HIGH;
  sConfigOC.OCFastMode = TIM_OCFAST_DISABLE;
  if (HAL_TIM_PWM_ConfigChannel(&htim3, &sConfigOC, TIM_CHANNEL_2) != HAL_OK)
  {
    Error_Handler();
  }
  if (HAL_TIM_IC_ConfigChannel(&htim3, &sConfigIC, TIM_CHANNEL_3) != HAL_OK)
  {
    Error_Handler();
  }
  if (HAL_TIM_PWM_ConfigChannel(&htim3, &sConfigOC, TIM_CHANNEL_4) != HAL_OK)
  {
    Error_Handler();
  }
  HAL_TIM_MspPostInit(&htim3);

}

static void MX_TIM6_Init(void)
{

  TIM_MasterConfigTypeDef sMasterConfig = {0};

  htim6.Instance = TIM6;
  htim6.Init.Prescaler = 1799;
  htim6.Init.CounterMode = TIM_COUNTERMODE_UP;
  htim6.Init.Period = 59999;
  htim6.Init.AutoReloadPreload = TIM_AUTORELOAD_PRELOAD_ENABLE;
  if (HAL_TIM_Base_Init(&htim6) != HAL_OK)
  {
    Error_Handler();
  }
  sMasterConfig.MasterOutputTrigger = TIM_TRGO_RESET;
  sMasterConfig.MasterSlaveMode = TIM_MASTERSLAVEMODE_DISABLE;
  if (HAL_TIMEx_MasterConfigSynchronization(&htim6, &sMasterConfig) != HAL_OK)
  {
    Error_Handler();
  }

}

static void MX_TIM7_Init(void)
{

  TIM_MasterConfigTypeDef sMasterConfig = {0};

  htim7.Instance = TIM7;
  htim7.Init.Prescaler = 1799;
  htim7.Init.CounterMode = TIM_COUNTERMODE_UP;
  htim7.Init.Period = 59999;
  htim7.Init.AutoReloadPreload = TIM_AUTORELOAD_PRELOAD_ENABLE;
  if (HAL_TIM_Base_Init(&htim7) != HAL_OK)
  {
    Error_Handler();
  }
  sMasterConfig.MasterOutputTrigger = TIM_TRGO_RESET;
  sMasterConfig.MasterSlaveMode = TIM_MASTERSLAVEMODE_DISABLE;
  if (HAL_TIMEx_MasterConfigSynchronization(&htim7, &sMasterConfig) != HAL_OK)
  {
    Error_Handler();
  }

}

static void MX_TIM14_Init(void)
{

  htim14.Instance = TIM14;
  htim14.Init.Prescaler = 21599;
  htim14.Init.CounterMode = TIM_COUNTERMODE_UP;
  htim14.Init.Period = 65535;
  htim14.Init.ClockDivision = TIM_CLOCKDIVISION_DIV1;
  htim14.Init.AutoReloadPreload = TIM_AUTORELOAD_PRELOAD_DISABLE;
  if (HAL_TIM_Base_Init(&htim14) != HAL_OK)
  {
    Error_Handler();
  }

}

static void MX_USART3_UART_Init(void)
{

  huart3.Instance = USART3;
  huart3.Init.BaudRate = 115200;
  huart3.Init.WordLength = UART_WORDLENGTH_8B;
  huart3.Init.StopBits = UART_STOPBITS_1;
  huart3.Init.Parity = UART_PARITY_NONE;
  huart3.Init.Mode = UART_MODE_TX_RX;
  huart3.Init.HwFlowCtl = UART_HWCONTROL_NONE;
  huart3.Init.OverSampling = UART_OVERSAMPLING_16;
  huart3.Init.OneBitSampling = UART_ONE_BIT_SAMPLE_DISABLE;
  huart3.AdvancedInit.AdvFeatureInit = UART_ADVFEATURE_NO_INIT;
  if (HAL_UART_Init(&huart3) != HAL_OK)
  {
    Error_Handler();
  }

}

static void MX_GPIO_Init(void)
{
  GPIO_InitTypeDef GPIO_InitStruct = {0};

  /* GPIO Ports Clock Enable */
  __HAL_RCC_GPIOE_CLK_ENABLE();
  __HAL_RCC_GPIOC_CLK_ENABLE();
  __HAL_RCC_GPIOF_CLK_ENABLE();
  __HAL_RCC_GPIOH_CLK_ENABLE();
  __HAL_RCC_GPIOA_CLK_ENABLE();
  __HAL_RCC_GPIOB_CLK_ENABLE();
  __HAL_RCC_GPIOD_CLK_ENABLE();
  __HAL_RCC_GPIOG_CLK_ENABLE();

  /*Configure GPIO pin Output Level */
  HAL_GPIO_WritePin(GPIOE, AD_CS1_Pin|AD_CS2_Pin|AD_CS3_Pin|AD_CS4_Pin, GPIO_PIN_SET);

  /*Configure GPIO pin Output Level */
  HAL_GPIO_WritePin(GPIOB, LD1_Pin|INF_LE_Pin|INF_OE__Pin|LED_LE_Pin
                          |LD3_Pin|LD2_Pin, GPIO_PIN_RESET);

  /*Configure GPIO pin Output Level */
  HAL_GPIO_WritePin(ESP_HANDSHAKE_GPIO_Port, ESP_HANDSHAKE_Pin, GPIO_PIN_SET);

  /*Configure GPIO pin Output Level */
  HAL_GPIO_WritePin(USB_PowerSwitchOn_GPIO_Port, USB_PowerSwitchOn_Pin, GPIO_PIN_RESET);

  /*Configure GPIO pin Output Level */
  HAL_GPIO_WritePin(LED_OE__GPIO_Port, LED_OE__Pin, GPIO_PIN_RESET);

  /*Configure GPIO pins : AD_CS1_Pin AD_CS2_Pin AD_CS3_Pin AD_CS4_Pin */
  GPIO_InitStruct.Pin = AD_CS1_Pin|AD_CS2_Pin|AD_CS3_Pin|AD_CS4_Pin;
  GPIO_InitStruct.Mode = GPIO_MODE_OUTPUT_PP;
  GPIO_InitStruct.Pull = GPIO_NOPULL;
  GPIO_InitStruct.Speed = GPIO_SPEED_FREQ_LOW;
  HAL_GPIO_Init(GPIOE, &GPIO_InitStruct);

  /*Configure GPIO pin : USER_BUTTON_Pin */
  GPIO_InitStruct.Pin = USER_BUTTON_Pin;
  GPIO_InitStruct.Mode = GPIO_MODE_INPUT;
  GPIO_InitStruct.Pull = GPIO_NOPULL;
  HAL_GPIO_Init(USER_BUTTON_GPIO_Port, &GPIO_InitStruct);

  /*Configure GPIO pins : PA3 PA4 */
  GPIO_InitStruct.Pin = GPIO_PIN_3|GPIO_PIN_4;
  GPIO_InitStruct.Mode = GPIO_MODE_IT_RISING;
  GPIO_InitStruct.Pull = GPIO_NOPULL;
  HAL_GPIO_Init(GPIOA, &GPIO_InitStruct);

  /*Configure GPIO pins : LD1_Pin INF_LE_Pin INF_OE__Pin LED_LE_Pin
                           LD3_Pin LD2_Pin */
  GPIO_InitStruct.Pin = LD1_Pin|INF_LE_Pin|INF_OE__Pin|LED_LE_Pin
                          |LD3_Pin|LD2_Pin;
  GPIO_InitStruct.Mode = GPIO_MODE_OUTPUT_PP;
  GPIO_InitStruct.Pull = GPIO_NOPULL;
  GPIO_InitStruct.Speed = GPIO_SPEED_FREQ_LOW;
  HAL_GPIO_Init(GPIOB, &GPIO_InitStruct);

  /*Configure GPIO pin : ESP_HANDSHAKE_Pin */
  GPIO_InitStruct.Pin = ESP_HANDSHAKE_Pin;
  GPIO_InitStruct.Mode = GPIO_MODE_OUTPUT_PP;
  GPIO_InitStruct.Pull = GPIO_NOPULL;
  GPIO_InitStruct.Speed = GPIO_SPEED_FREQ_LOW;
  HAL_GPIO_Init(ESP_HANDSHAKE_GPIO_Port, &GPIO_InitStruct);

  /*Configure GPIO pin : ESP_CS_Pin */
  GPIO_InitStruct.Pin = ESP_CS_Pin;
  GPIO_InitStruct.Mode = GPIO_MODE_INPUT;
  GPIO_InitStruct.Pull = GPIO_NOPULL;
  HAL_GPIO_Init(ESP_CS_GPIO_Port, &GPIO_InitStruct);

  /*Configure GPIO pin : USB_PowerSwitchOn_Pin */
  GPIO_InitStruct.Pin = USB_PowerSwitchOn_Pin;
  GPIO_InitStruct.Mode = GPIO_MODE_OUTPUT_PP;
  GPIO_InitStruct.Pull = GPIO_NOPULL;
  GPIO_InitStruct.Speed = GPIO_SPEED_FREQ_LOW;
  HAL_GPIO_Init(USB_PowerSwitchOn_GPIO_Port, &GPIO_InitStruct);

  /*Configure GPIO pin : USB_OverCurrent_Pin */
  GPIO_InitStruct.Pin = USB_OverCurrent_Pin;
  GPIO_InitStruct.Mode = GPIO_MODE_INPUT;
  GPIO_InitStruct.Pull = GPIO_NOPULL;
  HAL_GPIO_Init(USB_OverCurrent_GPIO_Port, &GPIO_InitStruct);

  /*Configure GPIO pin : LED_OE__Pin */
  GPIO_InitStruct.Pin = LED_OE__Pin;
  GPIO_InitStruct.Mode = GPIO_MODE_OUTPUT_PP;
  GPIO_InitStruct.Pull = GPIO_NOPULL;
  GPIO_InitStruct.Speed = GPIO_SPEED_FREQ_LOW;
  HAL_GPIO_Init(LED_OE__GPIO_Port, &GPIO_InitStruct);

  /* EXTI interrupt init*/
  HAL_NVIC_SetPriority(EXTI3_IRQn, 5, 0);
  HAL_NVIC_EnableIRQ(EXTI3_IRQn);

  HAL_NVIC_SetPriority(EXTI4_IRQn, 5, 0);
  HAL_NVIC_EnableIRQ(EXTI4_IRQn);

}

void StartTaskDeafult(void *argument)
{
  /* USER CODE BEGIN 5 */
	leftMotor(MOTOR_NORMAL);
	rightMotor(MOTOR_NORMAL);
	uint32_t LEDs;			// vonalkövetéshez
	uint16_t leftSide; 		// vonalkövetéshez
	uint16_t rightSide; 	// vonalkövetéshez
	int LLS, LS, RS, RRS; 	// vonalkövetéshez
	uint8_t action[1] = {0};
	uint8_t ack[1] = {1};
	int condition = 0;

	/* Infinite loop */
	for(;;){
		if(!HAL_GPIO_ReadPin(ESP_CS_GPIO_Port, ESP_CS_Pin))
			HAL_SPI_Receive(&hspi3, action, sizeof(action), 500);
		// Return to track, and repeat loop
		if(!onTheTrack()){
			trackLost();
			continue;
		}

		switch(action[0]){
			case STOP:
				leftMotor(MOTOR_STOP);
				rightMotor(MOTOR_STOP);
				break;
			case LINE_FOLLOW:
				LLS = LS = RS = RRS = 0;
				LEDs = GetLightSensorValues();
				rightSide = (uint16_t)(LEDs);
				leftSide = (uint16_t)(LEDs >> 16);

				// divide the sensors into 4 sectros
				for(int i = 0; i < 8; i++)
				{
					RRS += (rightSide >> i) & 0x01;
					LS += (leftSide >> i) & 0x01;
				}
				for(int i = 8; i < 16; i++)
				{
					RS += (rightSide >> i) & 0x01;
					LLS += (leftSide >> i) & 0x01;
				}

				// compare the 4 sectors
				if (LS + LLS > RS + RRS)
				{
					if (LLS > LS)
					{
						leftMotor(MOTOR_SLOWEST);
						rightMotor(MOTOR_FAST);
					}
					else if (LLS < LS)
					{
						leftMotor(MOTOR_SLOW);
						rightMotor(MOTOR_FAST);
					}
				}
				else if (LS + LLS < RS + RRS)
				{
					if (RRS > RS)
					{
						leftMotor(MOTOR_FAST);
						rightMotor(MOTOR_SLOWEST);
					}
					else if (RRS < RS)
					{
						leftMotor(MOTOR_FAST);
						rightMotor(MOTOR_SLOW);
					}
				}
				else
				{
					leftMotor(MOTOR_FAST);
					rightMotor(MOTOR_FAST);
				}
				break;
			case RECEIVING_IMAGE:
				break;
			case RECEIVING_WEIGHTS:
				loadNetwork();
				break;
			case NETWORK:
				break;
			default:
				break;
		}
		osDelay(10);
	}
/*
	  switch(state)
	  {
	  case INIT:
		  osDelay(4000);
		  printf("INIT state\n");
		  initStateHandle();
		  break;
	  case LOAD:
		  printf("LOAD state\n");
		  loadStateHandle();
		  break;

	  case RUNNING:
		  printf("RUNNING state\n");
		  runningStateHandle();
		  break;
	  default:
		  nextState = INIT;
	  }
	  state = nextState;

	  osDelay(CONTROL_DELAY);

*/
	  /*
	  int8_t ret;
	  switch(actualState)
	  {
		  case NETWORK:
			  // running the NN
			  networkSwitch();

			  if(!onTheTrack()){
				  actualState = TRACK_LOST;
			  }
			  break;

		  case TRACK_LOST:
			  trackLost();
			  actualState = RETURNING_TO_TRACK;
			  break;

		  case RETURNING_TO_TRACK:
			  ret = returnToLine();
			  if(ret == 1)
			  {
				  actualState = NETWORK;
			  }
			  else if(ret == -1)
			  {
				  actualState = REQUEST_USER_CONTROL;
			  }
			  break;

		  case REQUEST_USER_CONTROL:
			  // TODO if user button pushed -> state: NETWORK
			  if(HAL_GPIO_ReadPin(USER_BUTTON_GPIO_Port, USER_BUTTON_Pin) == GPIO_PIN_SET){
				  actualState = NETWORK;
			  }
			  break;

		  default:
			  leftMotor(MOTOR_STOP);
			  rightMotor(MOTOR_STOP);
	  }*/

  /* USER CODE END 5 */
}

void StartTaskLightSensor(void *argument)
{
  /* USER CODE BEGIN StartTaskLightSensor */
  /* Infinite loop */
  for(;;)
  {
	  LightSensorCycle();
	  osDelay(10);
  }
  /* USER CODE END StartTaskLightSensor */
}

void StartTaskEncoders(void *argument)
{
  /* USER CODE BEGIN StartTaskEncoders */
  int i = 0;

  /* Infinite loop */
  for(;;)
  {
	  CalculateDistance(LEFT_SIDE);
	  CalculateDistance(RIGHT_SIDE);
	  CalculateSpeed(LEFT_SIDE);
	  CalculateSpeed(RIGHT_SIDE);

	  if (i == 50)
	  {
		  CalculatePositionAndAngle();
		  i = 0;
	  }
	  else
	  {
		  i++;
	  }

	  osDelay(10);
  }
  /* USER CODE END StartTaskEncoders */
}

void StartTaskEmergencyBreaking(void *argument)
{
  /* USER CODE BEGIN StartTaskEmergencyBreaking */
  unsigned int lDist = 0;
  unsigned int rDist = 0;
  unsigned int mDist = 0;
  /* Infinite loop */
  for(;;)
  {
	  lDist = (unsigned int)getUSDistanceLeft();
	  rDist = (unsigned int)getUSDistanceRight();
	  mDist = (unsigned int)getLaserDistance();

	  if (lDist < 20 || rDist < 20 || mDist < 200)
	  {
		  setMotorEnable(MOTOR_DISABLE);
		  leftMotor(MOTOR_STOP);
		  rightMotor(MOTOR_STOP);
		  HAL_TIM_Base_Stop(&htim14);
	  }
	  else
	  {
		  setMotorEnable(MOTOR_ENABLE);
		  HAL_TIM_Base_Start(&htim14);
	  }

	  osDelay(10);
  }
  /* USER CODE END StartTaskEmergencyBreaking */
}

void StartTaskACC(void *argument)
{
  /* USER CODE BEGIN StartTaskACC */
	setACC_OS_RUNNING(1);
  /* Infinite loop */
  for(;;)
  {
	 AccMeasure();
	 GyroMeasure();
	 EulerMeasure();
	 osDelay(10);
  }
  /* USER CODE END StartTaskACC */
}

void StartTaskCommunication(void *argument)
{
  /* USER CODE BEGIN StartTaskCommunication */
  /* Infinite loop */
  for(;;)
  {
	  //printf("\033[3J");
	  //printf("\e[1;1H\e[2J");
	  //printf("Light sensor: 0x%x\n", GetLightSensorValues());
	  //printf("Left US sensor: %u\n", getUSDistanceLeft());
	  //printf("Right US sensor: %u\n", getUSDistanceRight());
	  //printf("Laser sensor: %u\n", getLaserDistance());
	  //printf("Acceleration: x: %f y: %f z: %f, Euler: x: %f y: %f z: %f\n", getAcc().x, getAcc().y, getAcc().z, getEuler().x, getEuler().y, getEuler().z);
	  //PrintEncoderAllData();

	  osDelay(500);
  }
  /* USER CODE END StartTaskCommunication */
}

void StartTaskReward(void *argument)
{
  /* USER CODE BEGIN StartTaskReward */
	osDelay(50);
	SetLightSensorValueForTheFirstTime();
  /* Infinite loop */
  for(;;)
  {
	moveAnalysis(GetLightSensorValues());

    osDelay(100);
  }
  /* USER CODE END StartTaskReward */
}

void HAL_TIM_PeriodElapsedCallback(TIM_HandleTypeDef *htim)
{
  if (htim->Instance == TIM13) {
    HAL_IncTick();
  }
  /* USER CODE BEGIN Callback 1 */
  	//Left encoder BEGIN
	if(htim->Instance == TIM6)
	{
		DisableSpeed(LEFT_SIDE);
	}
	//Left encoder END

	//Right encoder BEGIN
	if(htim->Instance == TIM7)
	{
		DisableSpeed(RIGHT_SIDE);
	}
	//Right encoder END

  	//US Sensor BEGIN
  	if(htim->Instance == UStim->Instance){
  		USSensorPeriodElapsedCallback(htim);
  	}
  	//US Sensor END
  /* USER CODE END Callback 1 */
}

void Error_Handler(void)
{
  __disable_irq();
  while (1)
  {
  }
}

/************************ (C) COPYRIGHT STMicroelectronics *****END OF FILE****/
